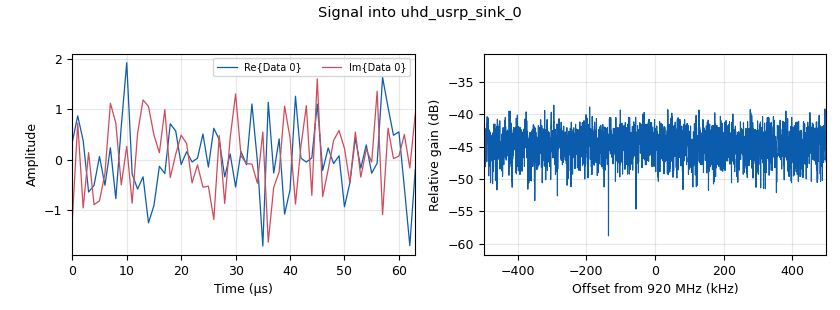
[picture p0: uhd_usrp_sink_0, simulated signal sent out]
options:
  parameters:
    generate_options: no_gui
    id: noise_generator
    output_language: python
    title: Noise Generator
  states: {}

blocks:
- name: noise_gain
  id: variable
  parameters:
    value: '20'
  states: {}
- name: samp_rate
  id: variable
  parameters:
    value: 1e6
  states: {}
- name: analog_noise_source_x_0
  id: analog_noise_source_x
  parameters:
    amp: '1'
    noise_type: analog.GR_GAUSSIAN
    seed: '0'
    type: complex
  states: {}
- name: uhd_usrp_sink_0
  id: uhd_usrp_sink
  parameters:
    ant0: TX/RX
    bw0: samp_rate
    center_freq0: 920e6
    dev_args: '""'
    gain0: noise_gain
    len_tag_name: ''
    norm_gain0: 'False'
    samp_rate: samp_rate
    sync: none
    type: fc32
  states: {}

connections:
- [analog_noise_source_x_0, '0', uhd_usrp_sink_0, '0']

metadata:
  file_format: 1
